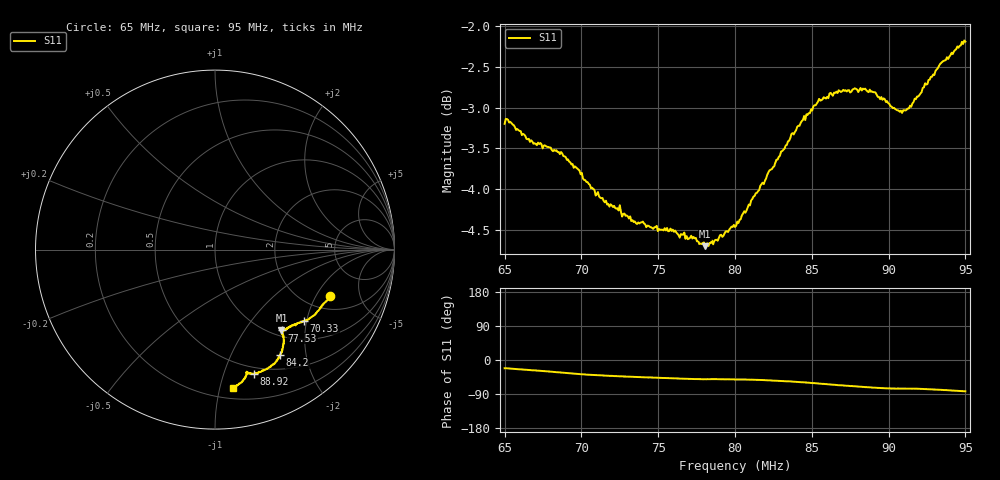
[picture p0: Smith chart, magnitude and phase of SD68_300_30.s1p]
! NanoVNA-App
! Date: 2025-08-09 13:21:16
! Start: 65MHz Stop: 95MHz Points: 401
! S-Parameter data: F S11
# Hz S RI R 50
!  Frequency  S11_Real  S11_Imag
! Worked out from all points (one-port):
!   401 points, 65 MHz to 95 MHz, reference 50 ohm
!   lowest |S11| = -4.7 dB at 78.05 MHz (marker M1), VSWR 3.78, Z = 55.3 - j75 ohm
!   |S11| at or under -10 dB: nowhere
!   S11 on the Smith chart (normalised r, x): 65 MHz: 2.69, -2.65; 70.33 MHz: 1.44, -1.94; 77.53 MHz: 1.10, -1.52; 84.2 MHz: 0.70, -1.57; 88.92 MHz: 0.44, -1.27; 95 MHz: 0.28, -1.10
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6.5e7  0.6426 -0.2567
6.5225e7  0.6442 -0.2633
6.68e7  0.6006 -0.3081
6.875e7  0.5532 -0.3664
6.9725e7  0.5206 -0.3883
7.0325e7  0.4974 -0.3984
7.1675e7  0.4619 -0.4095
7.25e7  0.4487 -0.4229
7.3625e7  0.426 -0.4232
7.625e7  0.3907 -0.4452
7.7525e7  0.3745 -0.4506
7.805e7  0.3701 -0.4491
7.8725e7  0.3739 -0.4527
8e7  0.3715 -0.4685
8.18e7  0.384 -0.5078
8.375e7  0.3718 -0.5729
8.42e7  0.3632 -0.5867
8.5625e7  0.3288 -0.6355
8.6675e7  0.2902 -0.6621
8.75e7  0.2611 -0.6746
8.8925e7  0.2163 -0.6913
9.005e7  0.1835 -0.6877
9.0725e7  0.1776 -0.6811
9.125e7  0.1755 -0.685
9.1925e7  0.1751 -0.6976
9.275e7  0.1641 -0.7211
9.35e7  0.1448 -0.7415
9.5e7  0.1003 -0.7709
